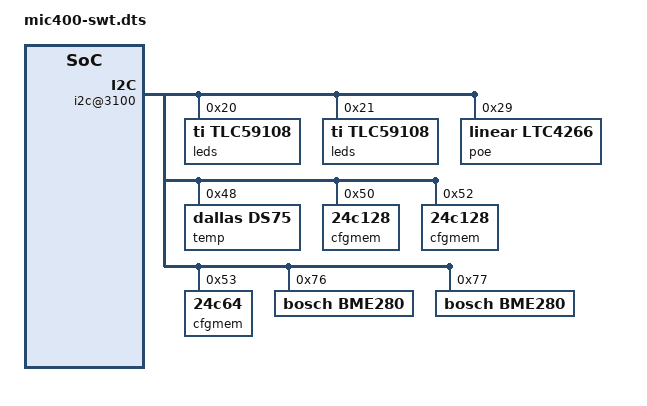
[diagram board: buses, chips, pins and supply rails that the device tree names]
/*
 * MIC400 Device Tree Source
 *
 * Copyright 2013 OMICRON electronics GmbH.
 *
 * This program is free software; you can redistribute	it and/or modify it
 * under  the terms of	the GNU General	 Public License as published by the
 * Free Software Foundation;  either version 2 of the  License, or (at your
 * option) any later version.
 */

/include/ "mic400-base.dtsi"

/include/ "mic400-nand-256-normal.dtsi"

&board_soc {
	i2c@3100 {
		leds@20 {
			#address-cells = <1>;
			#size-cells = <0>;
			compatible = "ti,tlc59108";
			reg = <0x20>;

			beeper@0 {
				label = "beeper";
				reg = <0x0>;
			};
			ledgrn@2 {
				label = "LED-GRN";
				reg = <0x2>;
			};
			ledreg@3 {
				label = "LED-RED";
				reg = <0x3>;
			};
		};
		leds@21 {
			#address-cells = <1>;
			#size-cells = <0>;
			compatible = "ti,tlc59108";
			reg = <0x21>;

			ledva_r@0 {
				label = "amp:red:volt";
				reg = <0x0>;
			};
			ledva_g@3 {
				label = "amp:green:volt";
				reg = <0x3>;
			};
			ledva_b@6 {
				label = "amp:blue:volt";
				reg = <0x6>;
			};
			ledca_r@1 {
				label = "amp:red:current";
				reg = <0x1>;
			};
			ledca_g@4 {
				label = "amp:green:current";
				reg = <0x4>;
			};
			ledca_b@7 {
				label = "amp:blue:current";
				reg = <0x7>;
			};
			ledauxdc_r@2 {
				label = "aux:red:dc";
				reg = <0x2>;
			};
			ledauxdc_g@5 {
				label = "aux:green:dc";
				reg = <0x5>;
			};
		};
		poe@29 {
			compatible = "linear,ltc4266";
			reg = <0x29>;
		};
		temp@48 {
			compatible = "dallas,ds75";
			reg = <0x48>;
		};
		cfgmem@50 {
			compatible = "24c128";
			reg = <0x50>;
			pagesize = <0x40>;
		};
		cfgmem@52 {
			compatible = "24c128";
			reg = <0x52>;
			pagesize = <0x40>;
		};
		cfgmem@53 {
			compatible = "24c64";
			reg = <0x53>;
			pagesize = <0x8000>;
		};
		bme280@76 {
			compatible = "bosch,bme280";
			reg = <0x76>;
		};
		bme280@77 {
			compatible = "bosch,bme280";
			reg = <0x77>;
		};
	};
};
